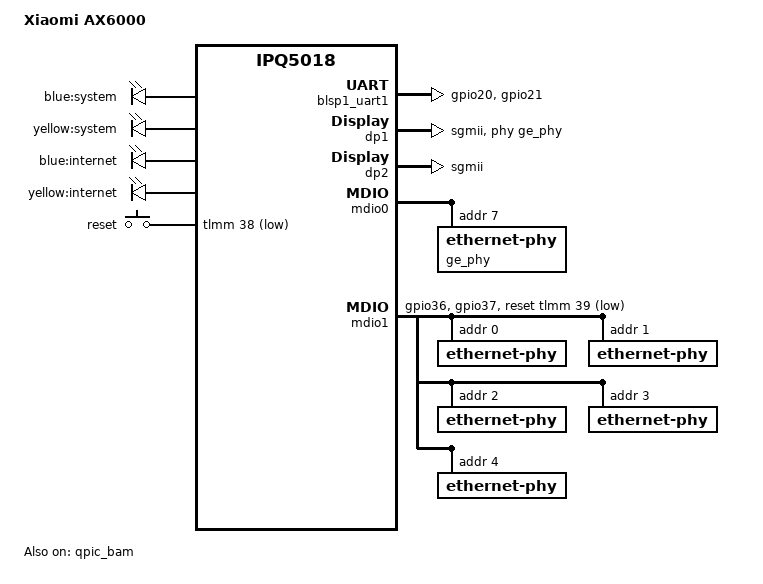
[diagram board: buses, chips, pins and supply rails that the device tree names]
// SPDX-License-Identifier: (GPL-2.0+)

/dts-v1/;

#include "ipq5018.dtsi"
#include <dt-bindings/gpio/gpio.h>
#include <dt-bindings/input/input.h>

/ {
	model = "Xiaomi AX6000";
	compatible = "xiaomi,ax6000", "qcom,ipq5018";

	#address-cells = <2>;
	#size-cells = <2>;
	interrupt-parent = <&intc>;

	aliases {
		serial0 = &blsp1_uart1;

		ethernet0 = &dp1;
		ethernet1 = &dp2;

		led-boot = &led_system_blue;
		led-failsafe = &led_system_yellow;
		led-running = &led_system_blue;
		led-upgrade = &led_system_yellow;
		
		label-mac-device = &dp1;
	};

	chosen {
		// Override the root parameter from u-boot
		// Increase coherent_pool size for WiFi
		bootargs-append = " root=/dev/ubiblock0_1 coherent_pool=2M";
		stdout-path = "serial0:115200n8";
	};

	reserved-memory {
		q6_region: memory@4b000000 {
			no-map;
			reg = <0x0 0x4b000000 0x0 0x01700000>;
		};

		m3_dump@4c700000 {
			no-map;
			reg = <0x0 0x4c700000 0x0 0x100000>;
		};

		q6_etr_region:q6_etr_dump@4c800000 {
			no-map;
			reg = <0x0 0x4c800000 0x0 0x100000>;
		};

		q6_caldb_region:q6_caldb_region@4c900000 {
			no-map;
			reg = <0x0 0x4c900000 0x0 0x200000>;
		};

		qcn9000_pcie0: qcn9000_pcie0@4cb00000 {
			no-map;
			reg = <0x0 0x4CB00000 0x0 0x1A00000>;
		};
	};

	thermal-zones {
		status = "ok";
	};
};

&tlmm {
	blsp_uart0_pins: blsp_uart0_pins {
		pins = "gpio20", "gpio21";
		function = "blsp0_uart0";
		drive-strength = <8>;
		bias-disable;
	};

	qspi_nand_pins: qspi_nand_pins {
		clock {
			pins = "gpio9";
			function = "qspi_clk";
			drive-strength = <8>;
			bias-disable;
		};

		cs {
			pins = "gpio8";
			function = "qspi_cs";
			drive-strength = <8>;
			bias-disable;
		};

		data0 {
			pins = "gpio7";
			function = "qspi0";
			drive-strength = <8>;
			bias-disable;
		};

		data1 {
			pins = "gpio6";
			function = "qspi1";
			drive-strength = <8>;
			bias-disable;
		};

		data2 {
			pins = "gpio5";
			function = "qspi2";
			drive-strength = <8>;
			bias-disable;
		};

		data3 {
			pins = "gpio4";
			function = "qspi3";
			drive-strength = <8>;
			bias-disable;
		};
	};

	mdio1_pins: mdio1_pins {
		mdc {
			pins = "gpio36";
			function = "mdc";
			drive-strength = <8>;
			bias-pull-up;
		};

		mdio {
			pins = "gpio37";
			function = "mdio";
			drive-strength = <8>;
			bias-pull-up;
		};
	};

	leds_pins: leds_pins {
		led_system_blue {
			pins = "gpio26";
			function = "gpio";
			drive-strength = <8>;
			bias-pull-down;
		};

		led_system_yellow {
			pins = "gpio27";
			function = "gpio";
			drive-strength = <8>;
			bias-pull-down;
		};

		led_internet_blue {
			pins = "gpio24";
			function = "gpio";
			drive-strength = <8>;
			bias-pull-down;
		};

		led_internet_yellow {
			pins = "gpio25";
			function = "gpio";
			drive-strength = <8>;
			bias-pull-down;
		};
	};

	button_pins: button_pins {
		button_reset {
			pins = "gpio38";
			function = "gpio";
			drive-strength = <8>;
			bias-pull-up;
		};
	};
};

&blsp1_uart1 {
	pinctrl-0 = <&blsp_uart0_pins>;
	pinctrl-names = "default";
	status = "ok";
};

&qpic_bam {
	status = "ok";
};

&soc {
	leds {
		compatible = "gpio-leds";
		pinctrl-0 = <&leds_pins>;
		pinctrl-names = "default";

		led_system_blue: led_system_blue {
			label = "blue:system";
			gpio = <&tlmm 24 GPIO_ACTIVE_HIGH>;
			default-state = "on";
		};

		led_system_yellow: led_system_yellow {
			label = "yellow:system";
			gpio = <&tlmm 25 GPIO_ACTIVE_HIGH>;
		};

		led_internet_blue: led_internet_blue {
			label = "blue:internet";
			gpio = <&tlmm 26 GPIO_ACTIVE_HIGH>;
		};

		led_internet_yellow: led_internet_yellow {
			label = "yellow:internet";
			gpio = <&tlmm 27 GPIO_ACTIVE_HIGH>;
		};
	};

	button {
		compatible = "gpio-keys";
		pinctrl-0 = <&button_pins>;
		pinctrl-names = "default";

		button_reset {
			label = "reset";
			gpios = <&tlmm 38 GPIO_ACTIVE_LOW>;
			linux,input-type = <EV_KEY>;
			linux,code = <KEY_RESTART>;
			debounce-interval = <60>;
		};
	};

	ess-instance {
		num_devices = <2>;

		ess-switch@0x39c00000 {
			compatible = "qcom,ess-switch-ipq50xx";
			device_id = <0>;
			cmnblk_clk = "internal_96MHz";
			switch_mac_mode = <0xf>;
			qcom,port_phyinfo {
				// MAC0 -> GE Phy -> QCA8337 Phy4
				port@0 {
					port_id = <1>;

					mdiobus = <&mdio0>;
					phy_address = <7>;

					phy_dac = <0x10 0x10>;
				};

				// MAC1 ---SGMII---> QCA8337 SerDes
				port@1 {
					port_id = <2>;

					forced-speed = <1000>;
					forced-duplex = <1>;
				};
			};
		};

		ess-switch1@1 {
			compatible = "qcom,ess-switch-qca83xx";
			device_id = <1>;

			switch_access_mode = "mdio";
			mdio-bus = <&mdio1>;

			qca,ar8327-initvals = <0x04 0x7600000 0x08 0x1000000 0x0c 0x80 0x10 0x2613a0 0xe4 0xaa545 0xe0 0xc74164de 0x7c 0x4e 0x94 0x4e>;
			
			switch_cpu_bmp = <0x60>;  // CPU port bitmap: 5 6
			switch_lan_bmp = <0x0e>;  // LAN port bitmap: 1 2 3
			switch_wan_bmp = <0x10>;  // WAN port bitmap: 4
			
			qcom,port_phyinfo {
				// MAC1 -> Phy0 -> LAN1
				port@1 {
					port_id = <1>;
					phy_address = <0>;
				};

				// MAC2 -> Phy1 -> LAN2
				port@2 {
					port_id = <2>;
					phy_address = <1>;
				};

				// MAC3 -> Phy2 -> LAN3
				port@3 {
					port_id = <3>;
					phy_address = <2>;
				};

				// MAC4 -> Phy3 -> WAN
				port@4 {
					port_id = <4>;
					phy_address = <3>;
				};

				// MAC5 -> Phy4 -> IPQ5000 GE Phy
				port@5 {
					port_id = <5>;
					phy_address = <4>;
				};

				// MAC6 ---SGMII---> IPQ5000 MAC1
				port@6 {
					port_id = <6>;

					forced-speed = <1000>;
					forced-duplex = <1>;
				};
			};

		};
	};
	
	ess-uniphy@98000 {
		status = "disabled";
	};

	dp1: dp1 {
		compatible = "qcom,nss-dp";
		device_type = "network";
		qcom,id = <1>;

		reg = <0x39C00000 0x10000>;
		interrupts = <GIC_SPI 101 IRQ_TYPE_LEVEL_HIGH>;
		clocks = <&gcc GCC_SNOC_GMAC0_AXI_CLK>;
		clock-names = "nss-snoc-gmac-axi-clk";

		qcom,mactype = <2>; // GMAC_HAL_TYPE_SYN_GMAC
		qcom,link-poll = <1>;
		qcom,phy-mdio-addr = <7>;
		mdio-bus = <&mdio0>;
		local-mac-address = [000000000000];
		phy-handle = <&ge_phy>;
		phy-mode = "sgmii";
	};

	dp2: dp2 {
		compatible = "qcom,nss-dp";
		device_type = "network";
		qcom,id = <2>;

		reg = <0x39D00000 0x10000>;
		interrupts = <GIC_SPI 109 IRQ_TYPE_LEVEL_HIGH>;
		clocks = <&gcc GCC_SNOC_GMAC1_AXI_CLK>;
		clock-names = "nss-snoc-gmac-axi-clk";

		qcom,mactype = <2>; // GMAC_HAL_TYPE_SYN_GMAC
		qcom,link-poll = <1>;
		qcom,phy-mdio-addr = <8>;
		mdio-bus = <&mdio1>;
		local-mac-address = [000000000000];
		phy-mode = "sgmii";
	};
};

&mdio0 {
	status = "ok";

	resets = <&gcc GCC_GEPHY_MDC_SW_ARES>;
	reset-names = "phy";

	// IPQ5018 GE Phy -> QCA8337 Phy4
	ge_phy: ethernet-phy@0 {
		reg = <7>;
	};
};

&mdio1 {
	pinctrl-0 = <&mdio1_pins>;
	pinctrl-names = "default";
	status = "ok";

	reset-gpios = <&tlmm 39 GPIO_ACTIVE_LOW>;

	// QCA8337 Phy0 -> LAN1
	ethernet-phy@0 {
		reg = <0>;
	};

	// QCA8337 Phy1 -> LAN2
	ethernet-phy@1 {
		reg = <1>;
	};

	// QCA8337 Phy2 -> LAN3
	ethernet-phy@2 {
		reg = <2>;
	};

	// QCA8337 Phy3 -> WAN
	ethernet-phy@3 {
		reg = <3>;
	};

	// QCA8337 Phy4 -> IPQ5018 GE Phy
	ethernet-phy@4 {
		reg = <4>;
	};
};
